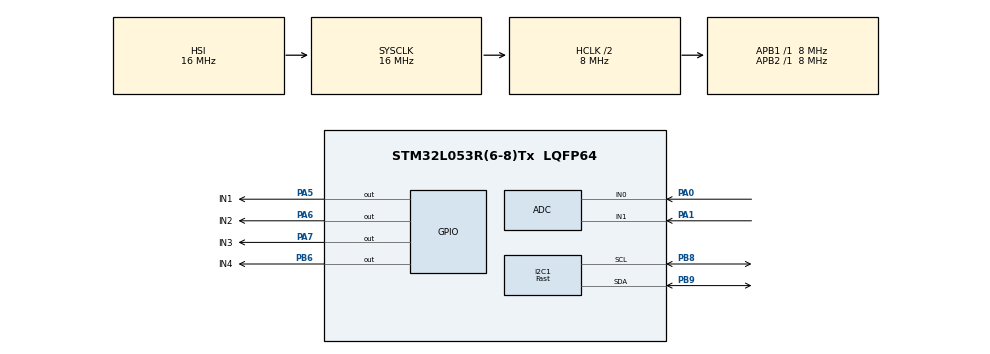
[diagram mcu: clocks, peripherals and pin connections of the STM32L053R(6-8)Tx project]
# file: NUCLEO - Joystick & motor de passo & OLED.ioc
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ADC.ContinuousConvMode=ENABLE
ADC.DMAContinuousRequests=DISABLE
ADC.SamplingTime=ADC_SAMPLETIME_160CYCLES_5
I2C1.I2C_Speed_Mode=I2C_Fast
I2C1.Timing=0x0010020A
Mcu.Family=STM32L0
Mcu.Name=STM32L053R(6-8)Tx
Mcu.Package=LQFP64
NVIC.I2C1_IRQn=true\:0\:0\:false\:false\:true\:true\:true\:true
PA0.Mode=IN0
PA0.Signal=ADC_IN0
PA1.Mode=IN1
PA1.Signal=ADC_IN1
PA5.GPIO_Label=IN1
PA5.Signal=GPIO_Output
PA6.GPIO_Label=IN2
PA6.Signal=GPIO_Output
PA7.GPIO_Label=IN3
PA7.Signal=GPIO_Output
PB6.GPIO_Label=IN4
PB6.Signal=GPIO_Output
PB8.GPIO_Pu=GPIO_PULLUP
PB8.Mode=I2C
PB8.Signal=I2C1_SCL
PB9.GPIO_Pu=GPIO_PULLUP
PB9.Mode=I2C
PB9.Signal=I2C1_SDA
ProjectManager.HeapSize=0x200
ProjectManager.StackSize=0x400
ProjectManager.TargetToolchain=STM32CubeIDE
RCC.AHBCLKDivider=RCC_SYSCLK_DIV2
RCC.AHBFreq_Value=8000000
RCC.APB1Freq_Value=8000000
RCC.APB1TimFreq_Value=8000000
RCC.APB2Freq_Value=8000000
RCC.APB2TimFreq_Value=8000000
RCC.HCLKFreq_Value=8000000
RCC.HSE_VALUE=8000000
RCC.HSI16_VALUE=16000000
RCC.HSI48_VALUE=48000000
RCC.HSI_VALUE=16000000
RCC.LSE_VALUE=32768
RCC.MSI_VALUE=2097000
RCC.SYSCLKFreq_VALUE=16000000
RCC.SYSCLKSource=RCC_SYSCLKSOURCE_HSI
RCC.VCOOutputFreq_Value=48000000
board=NUCLEO-L053R8

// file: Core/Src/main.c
/* USER CODE BEGIN Header */
/**
  ******************************************************************************
  * @file           : main.c
  * @brief          : Main program body
  ******************************************************************************
  * @attention
  *
  * Copyright (c) 2025 STMicroelectronics.
  * All rights reserved.
  *
  * This software is licensed under terms that can be found in the LICENSE file
  * in the root directory of this software component.
  * If no LICENSE file comes with this software, it is provided AS-IS.
  *
  ******************************************************************************
  */
/* USER CODE END Header */
#include "main.h"

/* USER CODE BEGIN Includes */
#include "math.h"
#include "stdlib.h"
#include "stdio.h"
#include "ssd1306.h"
#include "ssd1306_conf.h"
#include "ssd1306_fonts.h"
#include "ssd1306_tests.h"
/* USER CODE END Includes */

/* USER CODE BEGIN PTD */
typedef enum{
	CLOCKWISE = 0x00,
	COUNTERCLOCKWISE = 0x01,
	STOPED
}StepMotor_Typedef;

/* USER CODE END PTD */

/* USER CODE BEGIN PD */
#define CENTER_X 64
#define CENTER_Y 32
#define PI 3.141592

/* USER CODE END PD */

ADC_HandleTypeDef hadc;

I2C_HandleTypeDef hi2c1;

/* USER CODE BEGIN PV */
uint16_t adc_value[2];
uint8_t intensity = 20;
float ang = 0;
float x, y;
float axis_X, axis_Y;

float atual_pos = 0.0;
/* USER CODE END PV */

void SystemClock_Config(void);
static void MX_GPIO_Init(void);
static void MX_ADC_Init(void);
static void MX_I2C1_Init(void);

/* USER CODE BEGIN 0 */
void ADC_Interpreter(void){
	float alpha = 0.2;

	float rawX = (adc_value[1] - 2048) * 90.0 / 2048.0;
	float rawY = (adc_value[0] - 2048) * 90.0 / 2048.0;

	axis_X = (int16_t) (axis_X + alpha * (rawX - axis_X));
	axis_Y = (int16_t) (axis_Y + alpha * (rawY - axis_Y));

	ang = atan2(axis_Y, axis_X);
	intensity = (sqrt((axis_X * axis_X) + (axis_Y * axis_Y)) / 3);

	if(intensity > 27) intensity = 27;
	if(intensity < 5) intensity = 0;
}
void ANG_Interpreter(void){
	x = (cos(ang) * intensity) + CENTER_X;
	y = -(sin(ang) * intensity) + CENTER_Y;

	ang = ang * (180.0 / PI);
}

void MOTOR_direction(StepMotor_Typedef dir, uint8_t delay){
	if(dir == CLOCKWISE){
		for(int imot = 0; imot < 4; imot++){
			if(imot == 0) HAL_GPIO_WritePin(IN1_GPIO_Port, IN1_Pin, GPIO_PIN_SET);
			else HAL_GPIO_WritePin(IN1_GPIO_Port, IN1_Pin, GPIO_PIN_RESET);

			if (imot == 1) HAL_GPIO_WritePin(IN2_GPIO_Port, IN2_Pin, GPIO_PIN_SET);
			else HAL_GPIO_WritePin(IN2_GPIO_Port, IN2_Pin, GPIO_PIN_RESET);

			if (imot == 2) HAL_GPIO_WritePin(IN3_GPIO_Port, IN3_Pin, GPIO_PIN_SET);
			else HAL_GPIO_WritePin(IN3_GPIO_Port, IN3_Pin, GPIO_PIN_RESET);

			if (imot == 3) HAL_GPIO_WritePin(IN4_GPIO_Port, IN4_Pin, GPIO_PIN_SET);
			else HAL_GPIO_WritePin(IN4_GPIO_Port, IN4_Pin, GPIO_PIN_RESET);
			HAL_Delay(delay);
		}
	}

	if(dir == COUNTERCLOCKWISE){
		for(int imot = 0; imot < 4; imot++){
			if(imot == 0) HAL_GPIO_WritePin(IN4_GPIO_Port, IN4_Pin, GPIO_PIN_SET);
			else HAL_GPIO_WritePin(IN4_GPIO_Port, IN4_Pin, GPIO_PIN_RESET);

			if (imot == 1) HAL_GPIO_WritePin(IN3_GPIO_Port, IN3_Pin, GPIO_PIN_SET);
			else HAL_GPIO_WritePin(IN3_GPIO_Port, IN3_Pin, GPIO_PIN_RESET);

			if (imot == 2) HAL_GPIO_WritePin(IN2_GPIO_Port, IN2_Pin, GPIO_PIN_SET);
			else HAL_GPIO_WritePin(IN2_GPIO_Port, IN2_Pin, GPIO_PIN_RESET);

			if (imot == 3) HAL_GPIO_WritePin(IN1_GPIO_Port, IN1_Pin, GPIO_PIN_SET);
			else HAL_GPIO_WritePin(IN1_GPIO_Port, IN1_Pin, GPIO_PIN_RESET);
			HAL_Delay(delay);
		}
	}

	HAL_GPIO_WritePin(IN1_GPIO_Port, IN1_Pin, GPIO_PIN_RESET);
	HAL_GPIO_WritePin(IN2_GPIO_Port, IN2_Pin, GPIO_PIN_RESET);
	HAL_GPIO_WritePin(IN3_GPIO_Port, IN3_Pin, GPIO_PIN_RESET);
	HAL_GPIO_WritePin(IN4_GPIO_Port, IN4_Pin, GPIO_PIN_RESET);
}

int MOTOR_Controler(float target){
	float step, med;
	StepMotor_Typedef direction;

	med = (int)(target - atual_pos + 540) % 360 - 180;
	step = abs(med) * 513 / 360;

	if(med == 0) direction = STOPED;
	else if(med > 0) direction = CLOCKWISE;
	else direction = COUNTERCLOCKWISE;

	for(int i = 0; i < step; ++i){
		if(direction == CLOCKWISE) MOTOR_direction(CLOCKWISE, 1);
		else if (direction == COUNTERCLOCKWISE) MOTOR_direction(COUNTERCLOCKWISE, 1);
		else break;
	}

	return ((int)((atual_pos + med + 360)) % 360);
}
/* USER CODE END 0 */

int main(void)
{

  /* MCU Configuration--------------------------------------------------------*/

  /* Reset of all peripherals, Initializes the Flash interface and the Systick. */
  HAL_Init();

  /* Configure the system clock */
  SystemClock_Config();

  /* Initialize all configured peripherals */
  MX_GPIO_Init();
  MX_ADC_Init();
  MX_I2C1_Init();
  /* USER CODE BEGIN 2 */

  ssd1306_Init();

  ssd1306_Fill(White);
  ssd1306_SetCursor(26, 22);
  ssd1306_WriteString("SELETIVA WS", Font_7x10, Black);
  ssd1306_SetCursor(26, 32);
  ssd1306_WriteString("   2025", Font_7x10, Black);
  ssd1306_UpdateScreen();
  HAL_Delay(500);
//  char buf[6];
  /* USER CODE END 2 */

  /* Infinite loop */
  /* USER CODE BEGIN WHILE */
  while (1) {

//	  HAL_ADC_Start(&hadc);
//	  for(int i = 0; i < 2; i++){
//		  HAL_ADC_PollForConversion(&hadc, 100);
//		  if(i == 0) adc_value[0] = HAL_ADC_GetValue(&hadc);
//		  else adc_value[1] = HAL_ADC_GetValue(&hadc);
//	  }
//	  HAL_ADC_Stop(&hadc);
//
//	  ADC_Interpreter();
//	  ANG_Interpreter();

	  atual_pos = MOTOR_Controler(45);
	  HAL_Delay(100);
	  atual_pos = MOTOR_Controler(315);
	  HAL_Delay(100);

//	  ssd1306_Fill(Black);
//	  ssd1306_DrawCircle(64, 32, 30, White);
//	  ssd1306_Line(CENTER_X, CENTER_Y, x, y, White);
//	  ssd1306_SetCursor(0, 0);
//	  sprintf(buf, "%.2f", ang);
//	  ssd1306_WriteString(buf, Font_6x8, White);
//	  ssd1306_UpdateScreen();
    /* USER CODE END WHILE */

  }
}

void SystemClock_Config(void)
{
  RCC_OscInitTypeDef RCC_OscInitStruct = {0};
  RCC_ClkInitTypeDef RCC_ClkInitStruct = {0};
  RCC_PeriphCLKInitTypeDef PeriphClkInit = {0};

  /** Configure the main internal regulator output voltage
  */
  __HAL_PWR_VOLTAGESCALING_CONFIG(PWR_REGULATOR_VOLTAGE_SCALE1);

  /** Initializes the RCC Oscillators according to the specified parameters
  * in the RCC_OscInitTypeDef structure.
  */
  RCC_OscInitStruct.OscillatorType = RCC_OSCILLATORTYPE_HSI;
  RCC_OscInitStruct.HSIState = RCC_HSI_ON;
  RCC_OscInitStruct.HSICalibrationValue = RCC_HSICALIBRATION_DEFAULT;
  RCC_OscInitStruct.PLL.PLLState = RCC_PLL_NONE;
  if (HAL_RCC_OscConfig(&RCC_OscInitStruct) != HAL_OK)
  {
    Error_Handler();
  }

  /** Initializes the CPU, AHB and APB buses clocks
  */
  RCC_ClkInitStruct.ClockType = RCC_CLOCKTYPE_HCLK|RCC_CLOCKTYPE_SYSCLK
                              |RCC_CLOCKTYPE_PCLK1|RCC_CLOCKTYPE_PCLK2;
  RCC_ClkInitStruct.SYSCLKSource = RCC_SYSCLKSOURCE_HSI;
  RCC_ClkInitStruct.AHBCLKDivider = RCC_SYSCLK_DIV2;
  RCC_ClkInitStruct.APB1CLKDivider = RCC_HCLK_DIV1;
  RCC_ClkInitStruct.APB2CLKDivider = RCC_HCLK_DIV1;

  if (HAL_RCC_ClockConfig(&RCC_ClkInitStruct, FLASH_LATENCY_0) != HAL_OK)
  {
    Error_Handler();
  }
  PeriphClkInit.PeriphClockSelection = RCC_PERIPHCLK_I2C1;
  PeriphClkInit.I2c1ClockSelection = RCC_I2C1CLKSOURCE_PCLK1;
  if (HAL_RCCEx_PeriphCLKConfig(&PeriphClkInit) != HAL_OK)
  {
    Error_Handler();
  }
}

static void MX_ADC_Init(void)
{

  ADC_ChannelConfTypeDef sConfig = {0};

  /** Configure the global features of the ADC (Clock, Resolution, Data Alignment and number of conversion)
  */
  hadc.Instance = ADC1;
  hadc.Init.OversamplingMode = DISABLE;
  hadc.Init.ClockPrescaler = ADC_CLOCK_SYNC_PCLK_DIV2;
  hadc.Init.Resolution = ADC_RESOLUTION_12B;
  hadc.Init.SamplingTime = ADC_SAMPLETIME_160CYCLES_5;
  hadc.Init.ScanConvMode = ADC_SCAN_DIRECTION_FORWARD;
  hadc.Init.DataAlign = ADC_DATAALIGN_RIGHT;
  hadc.Init.ContinuousConvMode = ENABLE;
  hadc.Init.DiscontinuousConvMode = DISABLE;
  hadc.Init.ExternalTrigConvEdge = ADC_EXTERNALTRIGCONVEDGE_NONE;
  hadc.Init.ExternalTrigConv = ADC_SOFTWARE_START;
  hadc.Init.DMAContinuousRequests = DISABLE;
  hadc.Init.EOCSelection = ADC_EOC_SINGLE_CONV;
  hadc.Init.Overrun = ADC_OVR_DATA_PRESERVED;
  hadc.Init.LowPowerAutoWait = DISABLE;
  hadc.Init.LowPowerFrequencyMode = DISABLE;
  hadc.Init.LowPowerAutoPowerOff = DISABLE;
  if (HAL_ADC_Init(&hadc) != HAL_OK)
  {
    Error_Handler();
  }

  /** Configure for the selected ADC regular channel to be converted.
  */
  sConfig.Channel = ADC_CHANNEL_0;
  sConfig.Rank = ADC_RANK_CHANNEL_NUMBER;
  if (HAL_ADC_ConfigChannel(&hadc, &sConfig) != HAL_OK)
  {
    Error_Handler();
  }

  /** Configure for the selected ADC regular channel to be converted.
  */
  sConfig.Channel = ADC_CHANNEL_1;
  if (HAL_ADC_ConfigChannel(&hadc, &sConfig) != HAL_OK)
  {
    Error_Handler();
  }

}

static void MX_I2C1_Init(void)
{

  hi2c1.Instance = I2C1;
  hi2c1.Init.Timing = 0x0010020A;
  hi2c1.Init.OwnAddress1 = 0;
  hi2c1.Init.AddressingMode = I2C_ADDRESSINGMODE_7BIT;
  hi2c1.Init.DualAddressMode = I2C_DUALADDRESS_DISABLE;
  hi2c1.Init.OwnAddress2 = 0;
  hi2c1.Init.OwnAddress2Masks = I2C_OA2_NOMASK;
  hi2c1.Init.GeneralCallMode = I2C_GENERALCALL_DISABLE;
  hi2c1.Init.NoStretchMode = I2C_NOSTRETCH_DISABLE;
  if (HAL_I2C_Init(&hi2c1) != HAL_OK)
  {
    Error_Handler();
  }

  /** Configure Analogue filter
  */
  if (HAL_I2CEx_ConfigAnalogFilter(&hi2c1, I2C_ANALOGFILTER_ENABLE) != HAL_OK)
  {
    Error_Handler();
  }

  /** Configure Digital filter
  */
  if (HAL_I2CEx_ConfigDigitalFilter(&hi2c1, 0) != HAL_OK)
  {
    Error_Handler();
  }

}

static void MX_GPIO_Init(void)
{
  GPIO_InitTypeDef GPIO_InitStruct = {0};

  /* GPIO Ports Clock Enable */
  __HAL_RCC_GPIOA_CLK_ENABLE();
  __HAL_RCC_GPIOB_CLK_ENABLE();

  /*Configure GPIO pin Output Level */
  HAL_GPIO_WritePin(GPIOA, IN1_Pin|IN2_Pin|IN3_Pin, GPIO_PIN_RESET);

  /*Configure GPIO pin Output Level */
  HAL_GPIO_WritePin(IN4_GPIO_Port, IN4_Pin, GPIO_PIN_RESET);

  /*Configure GPIO pins : IN1_Pin IN2_Pin IN3_Pin */
  GPIO_InitStruct.Pin = IN1_Pin|IN2_Pin|IN3_Pin;
  GPIO_InitStruct.Mode = GPIO_MODE_OUTPUT_PP;
  GPIO_InitStruct.Pull = GPIO_NOPULL;
  GPIO_InitStruct.Speed = GPIO_SPEED_FREQ_LOW;
  HAL_GPIO_Init(GPIOA, &GPIO_InitStruct);

  /*Configure GPIO pin : IN4_Pin */
  GPIO_InitStruct.Pin = IN4_Pin;
  GPIO_InitStruct.Mode = GPIO_MODE_OUTPUT_PP;
  GPIO_InitStruct.Pull = GPIO_NOPULL;
  GPIO_InitStruct.Speed = GPIO_SPEED_FREQ_LOW;
  HAL_GPIO_Init(IN4_GPIO_Port, &GPIO_InitStruct);

}

void Error_Handler(void)
{
  __disable_irq();
  while (1)
  {
  }
}
